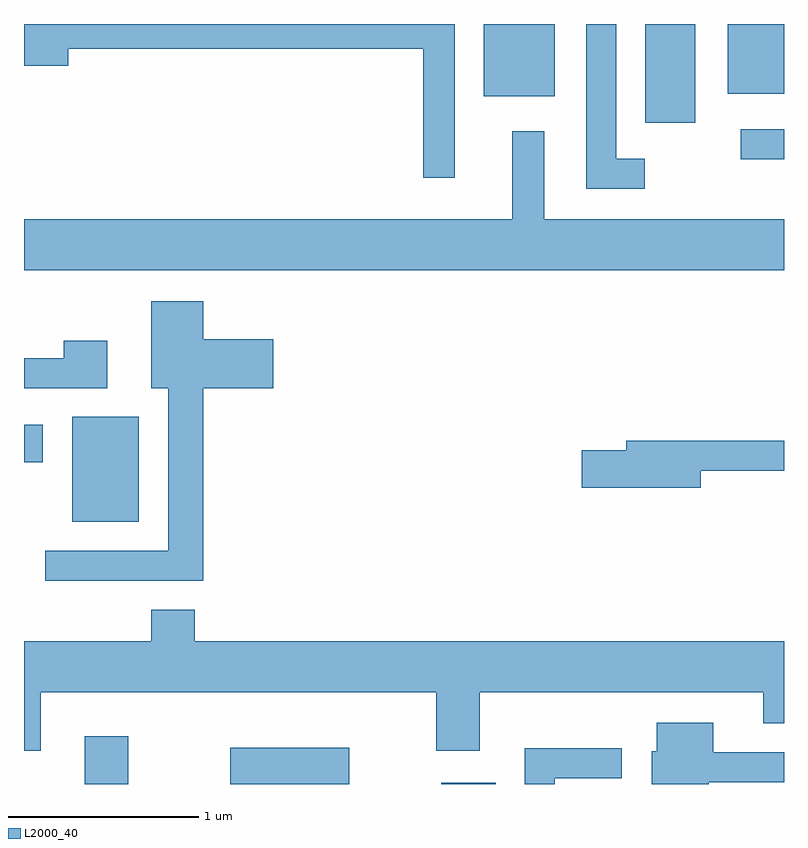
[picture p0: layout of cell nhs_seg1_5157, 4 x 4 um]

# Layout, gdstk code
import gdstk
lib = gdstk.Library(unit=1e-6, precision=1e-09)
def R(c, l, rs):  # rectangles x0, y0, x1, y1
    for r in rs: c.add(gdstk.rectangle(r[:2], r[2:], *l))
def P(c, l, *ps):  # polygons
    for p in ps: c.add(gdstk.Polygon(p, *l))
L2000_40 = (2000, 40)

nhs_seg1_5157 = lib.new_cell('nhs_seg1_5157')
R(nhs_seg1_5157, L2000_40, [(339.931,945.712,340.159,945.964), (340.696,945.712,341.324,945.904), (341.806,945.712,342.094,945.719), (339.866,947.091,340.214,947.644), (339.611,947.406,339.709,947.604), (343.383,949.001,343.611,949.159), (342.881,949.191,343.144,949.712), (342.031,949.331,342.404,949.712), (343.316,949.346,343.611,949.712)])
P(nhs_seg1_5157, L2000_40, [(342.878,949.004),(342.729,949.004),(342.729,949.712),(342.571,949.712),(342.571,948.846),(342.878,948.846)],
  [(341.879,949.712),(339.611,949.712),(339.611,949.491),(339.844,949.491),(339.844,949.581),(341.711,949.581),(341.711,948.903),(341.879,948.903)],
  [(343.611,948.684),(342.349,948.684),(342.349,949.148),(342.181,949.148),(342.181,948.684),(339.611,948.684),(339.611,948.416),(343.611,948.416)],
  [(340.554,947.796),(340.924,947.796),(340.924,948.054),(340.554,948.054),(340.554,948.254),(340.281,948.254),(340.281,947.796),(340.371,947.796),(340.371,946.939),(339.723,946.939),(339.723,946.781),(340.554,946.781)],
  [(340.049,948.044),(339.821,948.044),(339.821,947.954),(339.611,947.954),(339.611,947.796),(340.049,947.796)],
  [(343.174,947.361),(343.611,947.361),(343.611,947.519),(342.781,947.519),(342.781,947.469),(342.546,947.469),(342.546,947.271),(343.174,947.271)],
  [(339.699,946.196),(341.781,946.196),(341.781,945.886),(342.009,945.886),(342.009,946.196),(343.501,946.196),(343.501,946.031),(343.611,946.031),(343.611,946.464),(340.509,946.464),(340.509,946.629),(340.281,946.629),(340.281,946.464),(339.611,946.464),(339.611,945.886),(339.699,945.886)],
  [(343.214,945.721),(343.611,945.721),(343.611,945.879),(343.239,945.879),(343.239,946.034),(342.941,946.034),(342.941,945.884),(342.916,945.884),(342.916,945.712),(343.214,945.712)],
  [(342.404,945.741),(342.758,945.741),(342.758,945.899),(342.246,945.899),(342.246,945.712),(342.404,945.712)])

lib.write_gds('nhs_seg1_5157.gds')
